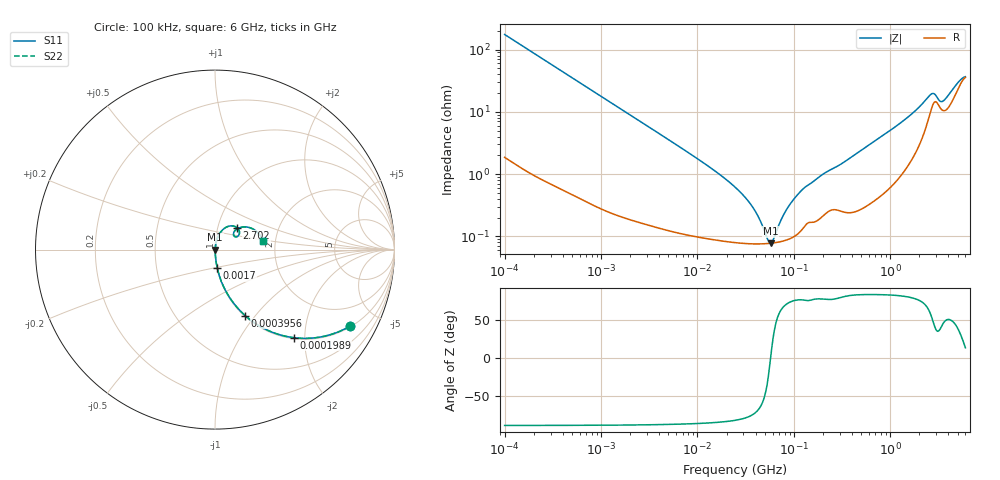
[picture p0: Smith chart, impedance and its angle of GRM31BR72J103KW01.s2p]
!Murata Part Number: GRM31BR72J103KW01
!These Parameters are Measured in Series Mode Connection
!Data Generated on Mar 30, 2021
!  o--ll--o
!Port1  Port2
!  o------o
!Operation Temp=25[degC], DC Bias Voltage=0[V]
!Freq. Start=100[kHz] Stop=6[GHz] 401[Steps]
# Hz S RI R 50
!Freq.(Hz) S11(Real) S11(Imag) S21(Real) S21(Imag) S12(Real) S12(Imag) S22(Real) S22(Imag)
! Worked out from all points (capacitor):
!   401 points, 100 kHz to 6 GHz, reference 50 ohm
!   read as one part in series: C = 9.09 nF near 105.7 kHz
!   lowest |Z| = 77.1 mohm at 57.46 MHz (marker M1)
!   series resonance near 57.33 MHz, so ESL is about 850 pH
!   S11 on the Smith chart (normalised r, x): 100 kHz: 1.04, -3.49; 198.9 kHz: 1.02, -1.76; 395.6 kHz: 1.01, -0.89; 1.7 MHz: 1.00, -0.21; 2.702 GHz: 1.24, +0.31; 6 GHz: 1.71, +0.17
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100000  0.7509 -0.4272  0.2491 0.4272  0.2491 0.4272  0.7509 -0.4272
198900  0.4382 -0.4908  0.5618 0.4908  0.5618 0.4908  0.4382 -0.4908
395611  0.1686 -0.3682  0.8314 0.3682  0.8314 0.3682  0.1686 -0.3682
631452  0.0757 -0.2578  0.9243 0.2578  0.9243 0.2578  0.0757 -0.2578
1699707  0.0128 -0.1031  0.9872 0.1031  0.9872 0.1031  0.0128 -0.1031
3987316  0.00334 -0.0446  0.9967 0.0446  0.9967 0.0446  0.00334 -0.0446
1.337449e7  0.00106 -0.0128  0.9989 0.0128  0.9989 0.0128  0.00106 -0.0128
2.517799e7  0.000819 -0.00587  0.9992 0.00587  0.9992 0.00587  0.000819 -0.00587
3.80366e7  0.00076 -0.00271  0.9992 0.00271  0.9992 0.00271  0.00076 -0.00271
4.486152e7  0.000755 -0.00159  0.9992 0.00159  0.9992 0.00159  0.000755 -0.00159
5.291103e7  0.000762 -0.000518  0.9992 0.000518  0.9992 0.000518  0.000762 -0.000518
5.746221e7  0.000771 1.5e-05  0.9992 -1.5e-05  0.9992 -1.5e-05  0.000771 1.5e-05
6.07118e7  0.000778 0.000371  0.9992 -0.000371  0.9992 -0.000371  0.000778 0.000371
9.171783e7  0.000928 0.00318  0.9991 -0.00318  0.9991 -0.00318  0.000928 0.00318
1.207557e8  0.00129 0.00534  0.9987 -0.00534  0.9987 -0.00534  0.00129 0.00534
1.546735e8  0.00172 0.00712  0.9983 -0.00712  0.9983 -0.00712  0.00172 0.00712
9.76689e8  0.00814 0.048  0.9919 -0.048  0.9919 -0.048  0.00814 0.048
1.942633e9  0.0373 0.1047  0.9627 -0.1047  0.9627 -0.1047  0.0373 0.1047
2.702311e9  0.1231 0.1217  0.8769 -0.1217  0.8769 -0.1217  0.1231 0.1217
3.461335e9  0.1033 0.082  0.8967 -0.082  0.8967 -0.082  0.1033 0.082
4.68428e9  0.1739 0.1262  0.8261 -0.1262  0.8261 -0.1262  0.1739 0.1262
6e9  0.2655 0.0458  0.7345 -0.0458  0.7345 -0.0458  0.2655 0.0458
